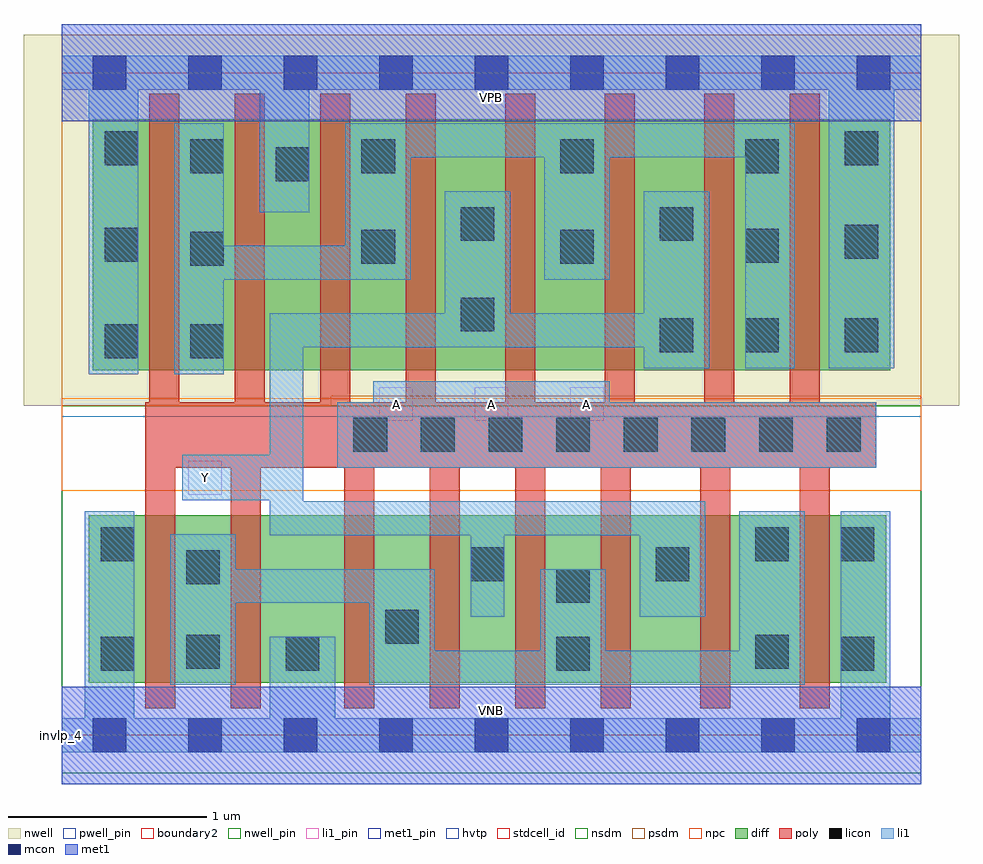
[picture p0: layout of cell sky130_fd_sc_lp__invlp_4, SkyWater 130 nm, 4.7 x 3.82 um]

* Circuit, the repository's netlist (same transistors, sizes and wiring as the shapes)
* Copyright 2020 The SkyWater PDK Authors
*
* Licensed under the Apache License, Version 2.0 (the "License");
* you may not use this file except in compliance with the License.
* You may obtain a copy of the License at
*
*     https://www.apache.org/licenses/LICENSE-2.0
*
* Unless required by applicable law or agreed to in writing, software
* distributed under the License is distributed on an "AS IS" BASIS,
* WITHOUT WARRANTIES OR CONDITIONS OF ANY KIND, either express or implied.
* See the License for the specific language governing permissions and
* limitations under the License.
*
* SPDX-License-Identifier: Apache-2.0

.SUBCKT sky130_fd_sc_lp__invlp_4 A VGND VNB VPB VPWR Y
*.PININFO A:I VGND:I VNB:I VPB:I VPWR:I Y:O
MMIP1 Y A net17 VPB sky130_fd_pr__pfet_01v8_hvt m=4 w=1.26U l=0.15U mult=1 sa=0.265
+ sb=0.265 sd=0.28 area=0.063 perim=1.14
MI5 net17 A VPWR VPB sky130_fd_pr__pfet_01v8_hvt m=4 w=1.26U l=0.15U mult=1 sa=0.265
+ sb=0.265 sd=0.28 area=0.063 perim=1.14
MMIN1 Y A net22 VNB sky130_fd_pr__nfet_01v8 m=4 w=0.84U l=0.15U mult=1 sa=0.265
+ sb=0.265 sd=0.28 area=0.063 perim=1.14
MI6 net22 A VGND VNB sky130_fd_pr__nfet_01v8 m=4 w=0.84U l=0.15U mult=1 sa=0.265
+ sb=0.265 sd=0.28 area=0.063 perim=1.14
.ENDS sky130_fd_sc_lp__invlp_4

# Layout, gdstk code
import gdstk
lib = gdstk.Library(unit=1e-6, precision=1e-09)
def R(c, l, rs):  # rectangles x0, y0, x1, y1
    for r in rs: c.add(gdstk.rectangle(r[:2], r[2:], *l))
def A(c, l, x, y, w, h, nx, ny, dx, dy):  # array of equal rectangles
    R(c, l, [(x+i*dx, y+j*dy, x+i*dx+w, y+j*dy+h) for i in range(nx) for j in range(ny)])
def P(c, l, *ps):  # polygons
    for p in ps: c.add(gdstk.Polygon(p, *l))
nwell_pin = (64, 16)
nwell = (64, 20)
diff = (65, 20)
poly = (66, 20)
licon = (66, 44)
li1_pin = (67, 16)
li1 = (67, 20)
mcon = (67, 44)
met1_pin = (68, 16)
met1 = (68, 20)
hvtp = (78, 44)
stdcell_id = (81, 4)
nsdm = (93, 44)
psdm = (94, 20)
npc = (95, 20)
pwell_pin = (122, 16)
boundary2 = (236, 0)

sky130_fd_sc_lp__invlp_4 = lib.new_cell('sky130_fd_sc_lp__invlp_4')
R(sky130_fd_sc_lp__invlp_4, nwell_pin, [(0,3.085,4.32,3.33)])
R(sky130_fd_sc_lp__invlp_4, nwell, [(-0.19,1.655,4.51,3.52)])
R(sky130_fd_sc_lp__invlp_4, diff, [(0.135,0.265,4.145,1.105), (0.155,1.835,4.165,3.095)])
P(sky130_fd_sc_lp__invlp_4, poly, [(4.095,1.675),(3.81,1.675),(3.81,3.225),(3.66,3.225),(3.66,1.675),(3.38,1.675),(3.38,3.225),(3.23,3.225),(3.23,1.675),(2.88,1.675),(2.88,3.225),(2.73,3.225),(2.73,1.675),(2.38,1.675),(2.38,3.225),(2.23,3.225),(2.23,1.675),(1.88,1.675),(1.88,3.225),(1.73,3.225),(1.73,1.675),(1.45,1.675),(1.45,3.225),(1.3,3.225),(1.3,1.675),(1.02,1.675),(1.02,3.225),(0.87,3.225),(0.87,1.675),(0.59,1.675),(0.59,3.225),(0.44,3.225),(0.44,1.675),(0.42,1.675),(0.42,0.135),(0.57,0.135),(0.57,1.345),(0.85,1.345),(0.85,0.135),(1,0.135),(1,1.345),(1.42,1.345),(1.42,0.135),(1.57,0.135),(1.57,1.345),(1.85,1.345),(1.85,0.135),(2,0.135),(2,1.345),(2.28,1.345),(2.28,0.135),(2.43,0.135),(2.43,1.345),(2.71,1.345),(2.71,0.135),(2.86,0.135),(2.86,1.345),(3.21,1.345),(3.21,0.135),(3.36,0.135),(3.36,1.345),(3.71,1.345),(3.71,0.135),(3.86,0.135),(3.86,1.345),(4.095,1.345)])
A(sky130_fd_sc_lp__invlp_4, licon, 1.465, 1.425, 0.17, 0.17, 8, 1, 0.34, 0)
A(sky130_fd_sc_lp__invlp_4, licon, 0.215, 1.895, 0.17, 0.17, 1, 3, 0, 0.485)
A(sky130_fd_sc_lp__invlp_4, licon, 0.645, 1.895, 0.17, 0.17, 1, 3, 0, 0.465)
A(sky130_fd_sc_lp__invlp_4, licon, 3.435, 1.925, 0.17, 0.17, 1, 3, 0, 0.45)
A(sky130_fd_sc_lp__invlp_4, licon, 3.935, 1.925, 0.17, 0.17, 1, 3, 0, 0.47)
R(sky130_fd_sc_lp__invlp_4, licon, [(0.195,0.325,0.365,0.495), (1.125,0.325,1.295,0.495), (2.485,0.325,2.655,0.495), (3.915,0.325,4.085,0.495), (0.625,0.335,0.795,0.505), (3.485,0.335,3.655,0.505), (1.625,0.46,1.795,0.63), (2.485,0.665,2.655,0.835), (0.625,0.76,0.795,0.93), (2.055,0.775,2.225,0.945), (2.985,0.775,3.155,0.945), (0.195,0.875,0.365,1.045), (3.485,0.875,3.655,1.045), (3.915,0.875,4.085,1.045), (3.005,1.925,3.175,2.095), (2.005,2.03,2.175,2.2), (1.505,2.37,1.675,2.54), (2.505,2.37,2.675,2.54), (2.005,2.485,2.175,2.655), (3.005,2.485,3.175,2.655), (1.075,2.785,1.245,2.955), (1.505,2.825,1.675,2.995), (2.505,2.825,2.675,2.995)])
A(sky130_fd_sc_lp__invlp_4, li1_pin, 1.595, 1.58, 0.17, 0.17, 3, 1, 0.48, 0)
R(sky130_fd_sc_lp__invlp_4, li1_pin, [(0.635,1.21,0.805,1.38)])
P(sky130_fd_sc_lp__invlp_4, li1, [(3.855,1.845),(3.855,3.245),(1.245,3.245),(1.245,2.63),(0.995,2.63),(0.995,3.245),(0.385,3.245),(0.385,1.815),(0.135,1.815),(0.135,3.245),(0,3.245),(0,3.415),(4.32,3.415),(4.32,3.245),(4.185,3.245),(4.185,1.845)],
  [(1.045,0.085),(1.045,0.495),(1.375,0.495),(1.375,0.085),(3.915,0.085),(3.915,1.125),(4.165,1.125),(4.165,0.085),(4.32,0.085),(4.32,-0.085),(0,-0.085),(0,0.085),(0.115,0.085),(0.115,1.125),(0.365,1.125),(0.365,0.085)],
  [(1.385,1.345),(1.385,1.675),(1.565,1.675),(1.565,1.78),(2.755,1.78),(2.755,1.675),(4.095,1.675),(4.095,1.345)],
  [(0.605,1.18),(0.605,1.41),(1.045,1.41),(1.045,2.12),(1.925,2.12),(1.925,2.735),(2.255,2.735),(2.255,2.12),(2.925,2.12),(2.925,2.735),(3.255,2.735),(3.255,1.845),(2.925,1.845),(2.925,1.95),(1.215,1.95),(1.215,1.175),(3.235,1.175),(3.235,0.595),(2.905,0.595),(2.905,1.005),(2.225,1.005),(2.225,0.595),(2.055,0.595),(2.055,1.005),(1.045,1.005),(1.045,1.18)],
  [(1.425,2.46),(1.425,3.075),(3.685,3.075),(3.685,1.845),(3.435,1.845),(3.435,2.905),(2.755,2.905),(2.755,2.29),(2.425,2.29),(2.425,2.905),(1.755,2.905),(1.755,2.29),(0.815,2.29),(0.815,1.815),(0.565,1.815),(0.565,3.075),(0.815,3.075),(0.815,2.46)],
  [(1.545,0.255),(1.545,0.665),(0.875,0.665),(0.875,0.255),(0.545,0.255),(0.545,1.01),(0.875,1.01),(0.875,0.835),(1.875,0.835),(1.875,0.425),(2.405,0.425),(2.405,0.835),(2.735,0.835),(2.735,0.425),(3.405,0.425),(3.405,1.125),(3.735,1.125),(3.735,0.255)])
A(sky130_fd_sc_lp__invlp_4, mcon, 0.155, -0.085, 0.17, 0.17, 9, 2, 0.48, 3.33)
R(sky130_fd_sc_lp__invlp_4, met1_pin, [(0,0,4.32,0.245), (0,3.085,4.32,3.33)])
R(sky130_fd_sc_lp__invlp_4, met1, [(0,-0.245,4.32,0.245), (0,3.085,4.32,3.575)])
R(sky130_fd_sc_lp__invlp_4, hvtp, [(0,1.6,4.32,3.33)])
R(sky130_fd_sc_lp__invlp_4, stdcell_id, [(0,0,4.32,3.33)])
R(sky130_fd_sc_lp__invlp_4, nsdm, [(0,-0.19,4.32,1.655)])
P(sky130_fd_sc_lp__invlp_4, psdm, [(4.32,3.52),(0,3.52),(0,1.655),(1.355,1.655),(1.355,1.705),(4.32,1.705)])
R(sky130_fd_sc_lp__invlp_4, npc, [(0,1.23,4.32,1.695)])
R(sky130_fd_sc_lp__invlp_4, pwell_pin, [(0,0,4.32,0.245)])
R(sky130_fd_sc_lp__invlp_4, boundary2, [(0,0,4.32,3.33)])
sky130_fd_sc_lp__invlp_4.add(gdstk.Label('VNB', (2.16,0.123), layer=64, texttype=59))
sky130_fd_sc_lp__invlp_4.add(gdstk.Label('VPB', (2.16,3.208), layer=64, texttype=5))
sky130_fd_sc_lp__invlp_4.add(gdstk.Label('invlp_4', (0,0), layer=83, texttype=44))
sky130_fd_sc_lp__invlp_4.add(gdstk.Label('VPWR', (2.16,3.208), layer=68, texttype=5))
sky130_fd_sc_lp__invlp_4.add(gdstk.Label('VGND', (2.16,0.123), layer=68, texttype=5))
sky130_fd_sc_lp__invlp_4.add(gdstk.Label('A', (1.68,1.665), layer=67, texttype=5))
sky130_fd_sc_lp__invlp_4.add(gdstk.Label('A', (2.16,1.665), layer=67, texttype=5))
sky130_fd_sc_lp__invlp_4.add(gdstk.Label('A', (2.64,1.665), layer=67, texttype=5))
sky130_fd_sc_lp__invlp_4.add(gdstk.Label('Y', (0.72,1.295), layer=67, texttype=5))

lib.write_gds('sky130_fd_sc_lp__invlp_4.gds')
